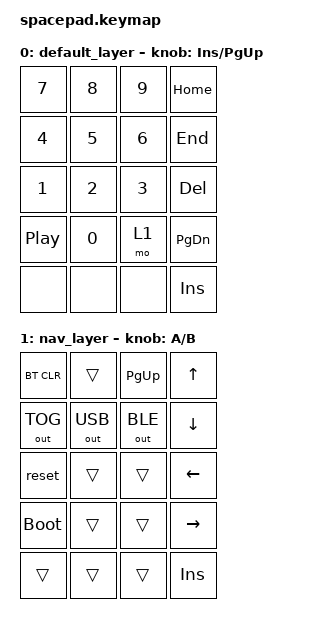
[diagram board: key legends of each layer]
/*
 * Copyright (c) 2020 The ZMK Contributors
 *
 * SPDX-License-Identifier: MIT
 */

#include <behaviors.dtsi>
#include <dt-bindings/zmk/bt.h>
#include <dt-bindings/zmk/keys.h>
#include <dt-bindings/zmk/outputs.h>

/ {
    keymap {
        compatible = "zmk,keymap";

        default_layer {
// --------------------------
// | 7      |  8  |  9      |
// | 4      |  5  |  6      |
// | 1      |  2  |  3      |
// | M_PLAY |  0  |  MO(1)  |
// --------------------------
            bindings = <
    &kp N7   &kp N8 &kp N9    &kp HOME
    &kp N4   &kp N5 &kp N6    &kp END
    &kp N1   &kp N2 &kp N3    &kp DEL
    &kp C_PP &kp N0 &mo 1     &kp PG_DN
    &none    &none  &none     &kp INS
            >;

            sensor-bindings = <&inc_dec_kp INS PG_UP>;
        };

         nav_layer {
// --------------------------
// | BT_CLR |  HOME |  PGUP |
// | _      |  END  |  PGDN |
// | _      |  _    |  _    |
// | _      |  _    |  _    |
// --------------------------
             bindings = <
     &bt BT_CLR       &trans          &kp PG_UP &kp UP
     &out OUT_TOG     &out OUT_USB    &out OUT_BLE &kp DOWN
     &reset           &trans     &trans    &kp LEFT
     &bootloader     &trans   &trans       &kp RIGHT
     &trans     &trans   &trans            &kp INS
             >;

             sensor-bindings = <&inc_dec_kp A B>;
         };
    };
};
